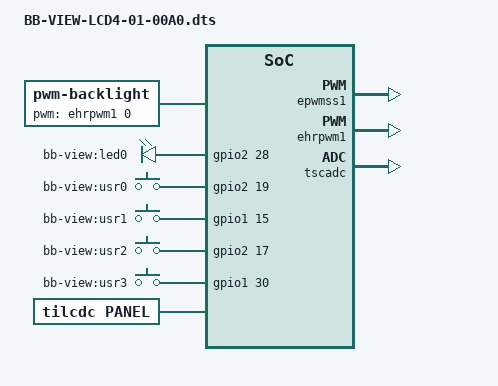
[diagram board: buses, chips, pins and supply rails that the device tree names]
/*
 * Copyright (C) 2012 Texas Instruments Incorporated - http://www.ti.com/
 *
 * This program is free software; you can redistribute it and/or modify
 * it under the terms of the GNU General Public License version 2 as
 * published by the Free Software Foundation.
 */
/dts-v1/;
/plugin/;

/ {
	compatible = "ti,beaglebone", "ti,beaglebone-black";

	/* identification */
	part-number = "BB-VIEW-LCD4-01";
	version = "00A0";

	/* state the resources this cape uses */
	exclusive-use =
		/* the pin header uses */
		"P8.45",	/* lcd: lcd_data0 */
		"P8.46",	/* lcd: lcd_data1 */
		"P8.43",	/* lcd: lcd_data2 */
		"P8.44",	/* lcd: lcd_data3 */
		"P8.41",	/* lcd: lcd_data4 */
		"P8.42",	/* lcd: lcd_data5 */
		"P8.39",	/* lcd: lcd_data6 */
		"P8.40",	/* lcd: lcd_data7 */
		"P8.37",	/* lcd: lcd_data8 */
		"P8.38",	/* lcd: lcd_data9 */
		"P8.36",	/* lcd: lcd_data10 */
		"P8.34",	/* lcd: lcd_data11 */
		"P8.35",	/* lcd: lcd_data12 */
		"P8.33",	/* lcd: lcd_data13 */
		"P8.31",	/* lcd: lcd_data14 */
		"P8.32",	/* lcd: lcd_data15 */
		"P8.27",	/* lcd: lcd_vsync */
		"P8.29",	/* lcd: lcd_hsync */
		"P8.28",	/* lcd: lcd_pclk */
		"P8.30",	/* lcd: lcd_ac_bias_en */
		"P9.27",	/* lcd: gpio3_19 */
		"P9.12",	/* led: gpio1_28 */
		"P9.14",	/* pwm: ehrpwm1a */
		"P9.15",	/* keys: gpio1_16 */
		"P9.23",	/* keys: gpio1_17 */
		"P9.16",	/* keys: gpio1_19 */
		"P9.21",	/* keys: gpio0_3 */
		/* the hardware IP uses */
		"gpio3_19",
		"gpio1_28",
		"gpio1_16",
		"gpio1_17",
		"gpio1_19",
		"gpio0_3",
		/* "gpio0_12", */
		"lcd",
		"ehrpwm1a";

	fragment@0 {
		target = <&am33xx_pinmux>;
		__overlay__ {

			bb_view_lcd_cape_led_pins: pinmux_bb_view_lcd_cape_led_pins {
				pinctrl-single,pins = <
					0x078 0x2f      /* gpmc_be1n.gpio1_28, INPUT | PULLDIS | MODE7 */
					/* 0x178 0x2f	 * uart1_ctsn.gpio0_12,INPUT | PULLDIS | MODE7 */
				>;
			};

			pwm_bl_pins: pinmux_pwm_bl_pins {
				pinctrl-single,pins = <
					0x48 0x06       /* gpmc_a2.ehrpwm1a, OMAP_MUX_MODE6 | AM33XX_PIN_OUTPUT */
				>;
			};

			bb_view_lcd_cape_pins: pinmux_bb_view_lcd_cape_pins {
				pinctrl-single,pins = <
					0xa0 0x08	/* lcd_data0.lcd_data0, OMAP_MUX_MODE0 | AM33XX_PIN_OUTPUT | AM33XX_PULL_DISA */
					0xa4 0x08	/* lcd_data1.lcd_data1, OMAP_MUX_MODE0 | AM33XX_PIN_OUTPUT | AM33XX_PULL_DISA */
					0xa8 0x08	/* lcd_data2.lcd_data2, OMAP_MUX_MODE0 | AM33XX_PIN_OUTPUT | AM33XX_PULL_DISA */
					0xac 0x08	/* lcd_data3.lcd_data3, OMAP_MUX_MODE0 | AM33XX_PIN_OUTPUT | AM33XX_PULL_DISA */
					0xb0 0x08	/* lcd_data4.lcd_data4, OMAP_MUX_MODE0 | AM33XX_PIN_OUTPUT | AM33XX_PULL_DISA */
					0xb4 0x08	/* lcd_data5.lcd_data5, OMAP_MUX_MODE0 | AM33XX_PIN_OUTPUT | AM33XX_PULL_DISA */
					0xb8 0x08	/* lcd_data6.lcd_data6, OMAP_MUX_MODE0 | AM33XX_PIN_OUTPUT | AM33XX_PULL_DISA */
					0xbc 0x08	/* lcd_data7.lcd_data7, OMAP_MUX_MODE0 | AM33XX_PIN_OUTPUT | AM33XX_PULL_DISA */
					0xc0 0x08	/* lcd_data8.lcd_data8, OMAP_MUX_MODE0 | AM33XX_PIN_OUTPUT | AM33XX_PULL_DISA */
					0xc4 0x08	/* lcd_data9.lcd_data9, OMAP_MUX_MODE0 | AM33XX_PIN_OUTPUT | AM33XX_PULL_DISA */
					0xc8 0x08	/* lcd_data10.lcd_data10, OMAP_MUX_MODE0 | AM33XX_PIN_OUTPUT | AM33XX_PULL_DISA */
					0xcc 0x08	/* lcd_data11.lcd_data11, OMAP_MUX_MODE0 | AM33XX_PIN_OUTPUT | AM33XX_PULL_DISA */
					0xd0 0x08	/* lcd_data12.lcd_data12, OMAP_MUX_MODE0 | AM33XX_PIN_OUTPUT | AM33XX_PULL_DISA */
					0xd4 0x08	/* lcd_data13.lcd_data13, OMAP_MUX_MODE0 | AM33XX_PIN_OUTPUT | AM33XX_PULL_DISA */
					0xd8 0x08	/* lcd_data14.lcd_data14, OMAP_MUX_MODE0 | AM33XX_PIN_OUTPUT | AM33XX_PULL_DISA */
					0xdc 0x08	/* lcd_data15.lcd_data15, OMAP_MUX_MODE0 | AM33XX_PIN_OUTPUT | AM33XX_PULL_DISA */
					0xe0 0x00	/* lcd_vsync.lcd_vsync, OMAP_MUX_MODE0 | AM33XX_PIN_OUTPUT */
					0xe4 0x00	/* lcd_hsync.lcd_hsync, OMAP_MUX_MODE0 | AM33XX_PIN_OUTPUT */
					0xe8 0x00	/* lcd_pclk.lcd_pclk, OMAP_MUX_MODE0 | AM33XX_PIN_OUTPUT */
					0xec 0x00	/* lcd_ac_bias_en.lcd_ac_bias_en, OMAP_MUX_MODE0 | AM33XX_PIN_OUTPUT */
				>;
			};

			bb_view_lcd_cape_keys_pins: pinmux_bb_view_lcd_cape_keys_pins {
				pinctrl-single,pins = <
					0x4C 0x27	/* gpmc_a3.gpio1_19,   INPUT | MODE7 */
					0x184 0x27	/* uart1_txd.gpio0_15, INPUT | MODE7 */
					0x44 0x27	/* gpmc_a1.gpio1_17,   INPUT | MODE7 */
					0x70 0x27	/* gpmc_wait0.gpio0_30,INPUT | MODE7 */
				>;
			};

		};
	};

	fragment@1 {
		target = <&epwmss1>;
		__overlay__ {
			status = "okay";
		};
	};

	fragment@2 {
		target = <&ehrpwm1>;
		__overlay__ {
			status = "okay";
		};
	};

	fragment@3 {
		target = <&ocp>;

		__overlay__ {

			/* avoid stupid warning */
			#address-cells = <1>;
			#size-cells = <1>;

			backlight {
				compatible      = "pwm-backlight";
				pinctrl-names   = "default";
				pinctrl-0       = <&pwm_bl_pins>;

				pwms = <&ehrpwm1 0 500000 0>;
				pwm-names = "LCD4";
				brightness-levels = <0 1 2 3 4 5 6 7 8 9 10 11 12 13 14 15 16 17 18 19 20 21 22 23 24 25 26 27 28 29 30 31 32 33 34 35 36 37 38 39 40 41 42 43 44 45 46 47 48 49 50 51 52 53 54 55 56 57 58 59 60 61 62 63 64 65 66 67 68 69 70 71 72 73 74 75 76 77 78 79 80 81 82 83 84 85 86 87 88 89 90 91 92 93 94 95 96 97 98 99 100>;
				default-brightness-level = <101>; /* index to the array above */
				status = "okay";
			};

			tscadc {
				compatible = "ti,ti-tscadc";
				reg = <0x44e0d000 0x1000>;

				interrupt-parent = <&intc>;
				interrupts = <16>;
				ti,hwmods = "adc_tsc";
				status = "okay";

				tsc {
					ti,wires = <4>;
					ti,x-plate-resistance = <200>;
					ti,coordinate-readouts = <5>;
					ti,touch-type = <1>;
					ti,wire-config = <0x00 0x11 0x22 0x33>;
				};

				adc {
					ti,adc-channels = <4 5 6 7>;
				};
			};

			gpio-leds-cape-lcd {
				compatible = "gpio-leds";
				pinctrl-names = "default";

				pinctrl-0 = <&bb_view_lcd_cape_led_pins>;

				bb_view_led0 {
					label = "bb-view:led0";
					gpios = <&gpio2 28 0>;
					linux,default-trigger = "none";
					default-state = "off";
				};

/*
				bb_view_led1 {
					label = "bb-view:led1";
					gpios = <&gpio1 12 0>;
					linux,default-trigger = "none";
					default-state = "off";
				};
*/
			};

			bb_view_gpio_keys {
				compatible = "gpio-keys";
				pinctrl-names = "default";
				pinctrl-0 = <&bb_view_lcd_cape_keys_pins>;

				#address-cells = <1>;
				#size-cells = <0>;

				button@1 {
					debounce_interval = <50>;
					label = "bb-view:usr0";
					linux,code = <0x100>;
					gpios = <&gpio2 19 0x0>;
					gpio-key,wakeup;
					autorepeat;
				};
				button@2 {
					debounce_interval = <50>;
					label = "bb-view:usr1";
					linux,code = <0x101>;
					gpios = <&gpio1 15 0x0>;
					gpio-key,wakeup;
					autorepeat;
				};
				button@3 {
					debounce_interval = <50>;
					label = "bb-view:usr2";
					linux,code = <0x102>;
					gpios = <&gpio2 17 0x0>;
					gpio-key,wakeup;
					autorepeat;
				};
				button@4 {
					debounce_interval = <50>;
					label = "bb-view:usr3";
					linux,code = <0x103>;
					gpios = <&gpio1 30 0x0>;
					gpio-key,wakeup;
					autorepeat;
				};
			};

			/* Embest 4.3 inch LCD cape: */
			panel {
				compatible = "tilcdc,panel";
				pinctrl-names = "default";
				pinctrl-0 = <&bb_view_lcd_cape_pins>;
				panel-info {
					ac-bias           = <255>;
					ac-bias-intrpt    = <0>;
					dma-burst-sz      = <16>;
					bpp               = <32>;
					fdd               = <0x80>;
					tft-alt-mode      = <0>;
					stn-565-mode      = <0>;
					mono-8bit-mode    = <0>;
					sync-edge         = <0>;
					sync-ctrl         = <1>;
					raster-order      = <0>;
					fifo-th           = <0>;
				};
				display-timings {
					native-mode = <&timing0>;
					timing0: 480x272 {
						hactive         = <480>;
						vactive         = <272>;
						hback-porch     = <44>;
						hfront-porch    = <9>;
						hsync-len       = <5>;
						vback-porch     = <13>;
						vfront-porch    = <4>;
						vsync-len       = <10>;
						clock-frequency = <9000000>;
						hsync-active    = <0>;
						vsync-active    = <0>;
					};
				};
			};

			fb {
				compatible = "ti,am33xx-tilcdc";
				reg = <0x4830e000 0x1000>;
				interrupt-parent = <&intc>;
				interrupts = <36>;
				bgrx_16bpp;
				ti,hwmods = "lcdc";
			};

		};
	};
};
